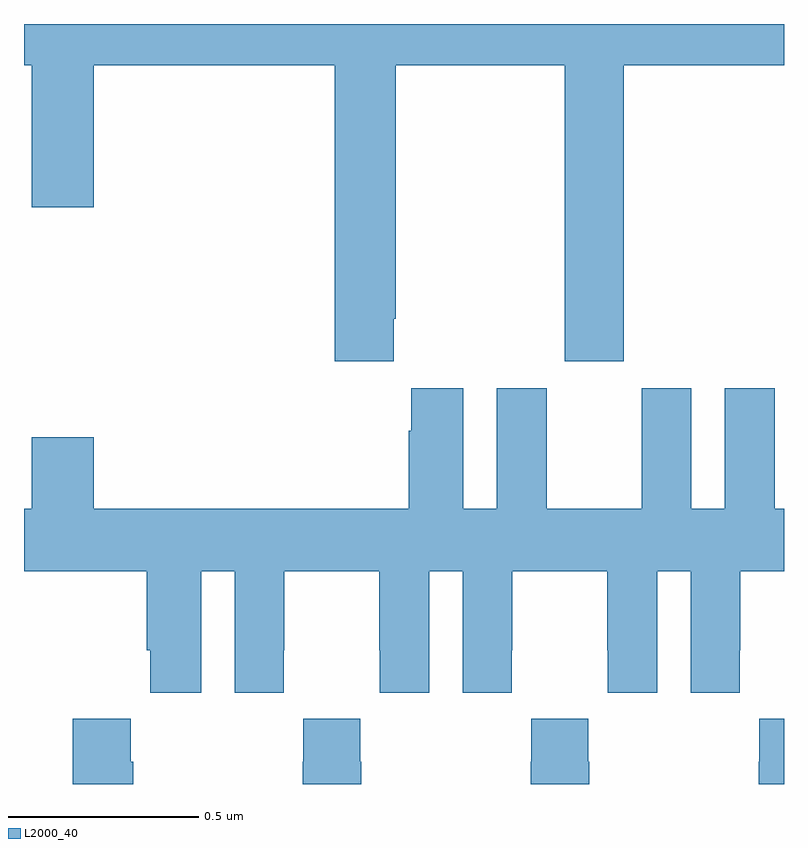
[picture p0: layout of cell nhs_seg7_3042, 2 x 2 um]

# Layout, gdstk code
import gdstk
lib = gdstk.Library(unit=1e-6, precision=1e-09)
def P(c, l, *ps):  # polygons
    for p in ps: c.add(gdstk.Polygon(p, *l))
L2000_40 = (2000, 40)

nhs_seg7_3042 = lib.new_cell('nhs_seg7_3042')
P(nhs_seg7_3042, L2000_40, [(153.973,1057.225),(153.978,1057.225),(153.978,1057.892),(154.423,1057.892),(154.423,1057.113),(154.578,1057.113),(154.578,1057.892),(155,1057.892),(155,1058),(153,1058),(153,1057.892),(153.02,1057.892),(153.02,1057.518),(153.184,1057.518),(153.184,1057.892),(153.818,1057.892),(153.818,1057.113),(153.973,1057.113)],
  [(154.375,1057.042),(154.244,1057.042),(154.244,1056.724),(154.156,1056.724),(154.156,1057.042),(154.019,1057.042),(154.019,1056.929),(154.013,1056.929),(154.013,1056.724),(153.184,1056.724),(153.184,1056.913),(153.02,1056.913),(153.02,1056.724),(153,1056.724),(153,1056.56),(153.323,1056.56),(153.323,1056.352),(153.332,1056.352),(153.332,1056.24),(153.466,1056.24),(153.466,1056.56),(153.554,1056.56),(153.554,1056.24),(153.684,1056.24),(153.684,1056.352),(153.685,1056.352),(153.685,1056.56),(153.935,1056.56),(153.935,1056.352),(153.936,1056.352),(153.936,1056.24),(154.066,1056.24),(154.066,1056.56),(154.154,1056.56),(154.154,1056.24),(154.284,1056.24),(154.284,1056.352),(154.285,1056.352),(154.285,1056.56),(154.535,1056.56),(154.535,1056.352),(154.536,1056.352),(154.536,1056.24),(154.666,1056.24),(154.666,1056.56),(154.754,1056.56),(154.754,1056.24),(154.884,1056.24),(154.884,1056.352),(154.885,1056.352),(154.885,1056.56),(155,1056.56),(155,1056.724),(154.975,1056.724),(154.975,1057.042),(154.844,1057.042),(154.844,1056.724),(154.756,1056.724),(154.756,1057.042),(154.625,1057.042),(154.625,1056.724),(154.375,1056.724)],
  [(153.288,1056.059),(153.281,1056.059),(153.281,1056.172),(153.128,1056.172),(153.128,1056),(153.288,1056)],
  [(155,1056.172),(154.935,1056.172),(154.935,1056.059),(154.933,1056.059),(154.933,1056),(155,1056)],
  [(154.488,1056.059),(154.485,1056.059),(154.485,1056.172),(154.335,1056.172),(154.335,1056.059),(154.333,1056.059),(154.333,1056),(154.488,1056)],
  [(153.888,1056.059),(153.885,1056.059),(153.885,1056.172),(153.735,1056.172),(153.735,1056.059),(153.733,1056.059),(153.733,1056),(153.888,1056)])

lib.write_gds('nhs_seg7_3042.gds')
